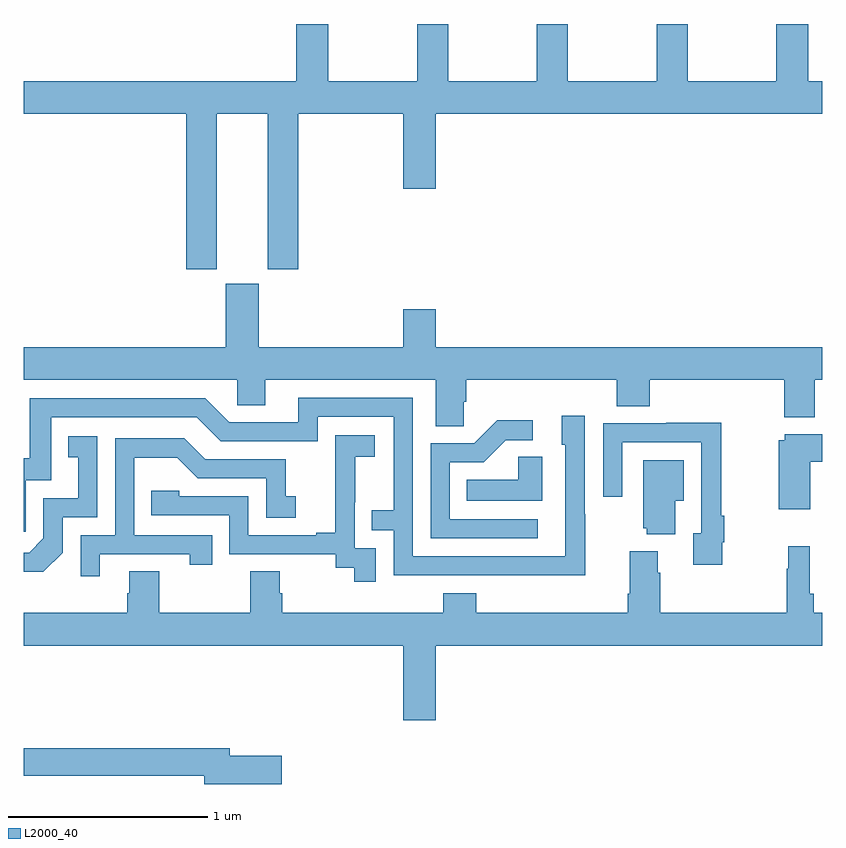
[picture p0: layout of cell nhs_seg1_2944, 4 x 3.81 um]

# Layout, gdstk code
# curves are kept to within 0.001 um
import gdstk
lib = gdstk.Library(unit=1e-6, precision=1e-09)
def P(c, l, *ps):  # polygons
    for p in ps: c.add(gdstk.Polygon(p, *l))
L2000_40 = (2000, 40)

nhs_seg1_2944 = lib.new_cell('nhs_seg1_2944')
P(nhs_seg1_2944, L2000_40, [(271.966,535.748),(272.222,535.748),(272.222,534.969),(272.375,534.969),(272.375,535.748),(272.9,535.748),(272.9,535.374),(273.064,535.374),(273.064,535.748),(275,535.748),(275,535.912),(274.931,535.912),(274.931,536.199),(274.771,536.199),(274.771,535.912),(274.326,535.912),(274.326,536.199),(274.171,536.199),(274.171,535.912),(273.726,535.912),(273.726,536.199),(273.571,536.199),(273.571,535.912),(273.126,535.912),(273.126,536.199),(272.971,536.199),(272.971,535.912),(272.526,535.912),(272.526,536.199),(272.366,536.199),(272.366,535.912),(271,535.912),(271,535.748),(271.814,535.748),(271.814,534.969),(271.966,534.969)],
  [(273.064,534.769),(272.9,534.769),(272.9,534.58),(272.176,534.58),(272.176,534.897),(272.012,534.897),(272.012,534.58),(271,534.58),(271,534.416),(272.07,534.416),(272.07,534.289),(272.209,534.289),(272.209,534.416),(273.065,534.416),(273.065,534.184),(273.204,534.184),(273.204,534.307),(273.218,534.307),(273.218,534.416),(273.971,534.416),(273.971,534.283),(274.136,534.283),(274.136,534.416),(274.811,534.416),(274.811,534.227),(274.963,534.227),(274.963,534.416),(275,534.416),(275,534.58),(273.064,534.58)],
  [(273.813,533.741),(273.81,533.741),(273.81,534.235),(273.695,534.235),(273.695,534.09),(273.714,534.09),(273.714,533.532),(272.949,533.532),(272.949,534.327),(272.375,534.327),(272.375,534.204),(272.028,534.204),(271.908,534.324),(271.029,534.324),(271.029,534.022),(271,534.022),(271,533.655),(271.008,533.655),(271.008,533.913),(271.137,533.913),(271.137,534.228),(271.866,534.228),(271.986,534.108),(272.472,534.108),(272.472,534.231),(272.853,534.231),(272.853,533.762),(272.743,533.762),(272.743,533.661),(272.853,533.661),(272.853,533.436),(273.813,533.435)],
  [(273.574,533.718),(273.135,533.718),(273.135,534.003),(273.304,534.003),(273.415,534.114),(273.55,534.114),(273.55,534.212),(273.371,534.212),(273.258,534.099),(273.039,534.099),(273.039,533.622),(273.574,533.622)],
  [(274.499,533.602),(274.511,533.602),(274.511,533.734),(274.496,533.734),(274.496,534.2),(274.219,534.2),(274.219,534.198),(273.903,534.198),(273.903,533.829),(273.999,533.829),(273.999,534.102),(274.395,534.102),(274.395,533.646),(274.355,533.646),(274.355,533.49),(274.499,533.49)],
  [(274.942,534.004),(275,534.004),(275,534.142),(274.812,534.142),(274.812,534.114),(274.784,534.114),(274.784,533.766),(274.942,533.766)],
  [(272.763,533.571),(272.658,533.571),(272.658,533.801),(272.66,533.801),(272.66,534.029),(272.758,534.029),(272.758,534.139),(272.56,534.139),(272.56,533.933),(272.561,533.933),(272.561,533.65),(272.465,533.65),(272.465,533.637),(272.124,533.637),(272.124,533.832),(271.779,533.832),(271.779,533.859),(271.639,533.859),(271.639,533.736),(272.028,533.736),(272.028,533.541),(272.562,533.541),(272.562,533.473),(272.655,533.473),(272.655,533.403),(272.763,533.403)],
  [(271.194,533.55),(271.194,533.727),(271.368,533.727),(271.368,534.133),(271.222,534.133),(271.222,534.027),(271.271,534.027),(271.271,533.823),(271.098,533.823),(271.098,533.622),(271.026,533.55),(271,533.55),(271,533.453),(271.096,533.453)],
  [(271.381,533.541),(271.832,533.541),(271.832,533.49),(271.943,533.49),(271.943,533.637),(271.554,533.637),(271.554,534.026),(271.768,534.026),(271.872,533.922),(272.214,533.922),(272.214,533.724),(272.362,533.724),(272.362,533.833),(272.313,533.833),(272.313,534.018),(271.909,534.018),(271.804,534.123),(271.458,534.123),(271.458,533.637),(271.284,533.637),(271.284,533.43),(271.381,533.43)],
  [(273.598,534.029),(273.477,534.029),(273.477,533.914),(273.22,533.914),(273.22,533.81),(273.598,533.81)],
  [(274.264,533.81),(274.306,533.81),(274.306,534.013),(274.103,534.013),(274.103,533.673),(274.121,533.673),(274.121,533.642),(274.264,533.642)],
  [(275,533.248),(274.958,533.248),(274.958,533.344),(274.938,533.344),(274.938,533.581),(274.83,533.581),(274.83,533.468),(274.822,533.468),(274.822,533.248),(274.19,533.248),(274.19,533.45),(274.177,533.45),(274.177,533.557),(274.037,533.557),(274.037,533.344),(274.025,533.344),(274.025,533.248),(273.266,533.248),(273.266,533.347),(273.101,533.347),(273.101,533.248),(272.294,533.248),(272.294,533.346),(272.281,533.346),(272.281,533.456),(272.134,533.456),(272.134,533.248),(271.677,533.248),(271.677,533.456),(271.529,533.456),(271.529,533.346),(271.517,533.346),(271.517,533.248),(271,533.248),(271,533.084),(272.9,533.084),(272.9,532.71),(273.064,532.71),(273.064,533.084),(275,533.084)],
  [(272.293,532.532),(272.032,532.532),(272.032,532.568),(271,532.568),(271,532.432),(271.904,532.432),(271.904,532.39),(272.293,532.39)])

lib.write_gds('nhs_seg1_2944.gds')
